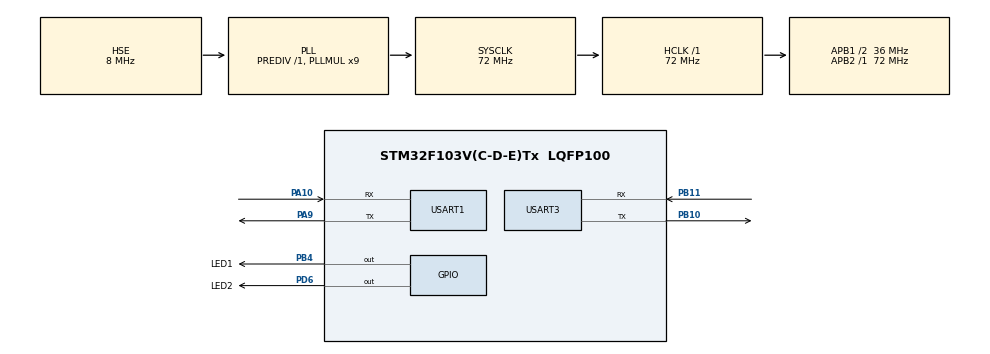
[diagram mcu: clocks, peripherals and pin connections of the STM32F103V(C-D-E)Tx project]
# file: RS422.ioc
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Mcu.Family=STM32F1
Mcu.Name=STM32F103V(C-D-E)Tx
Mcu.Package=LQFP100
NVIC.PriorityGroup=NVIC_PRIORITYGROUP_4
NVIC.USART1_IRQn=true\:0\:0\:false\:false\:true\:true\:true\:true
NVIC.USART3_IRQn=true\:0\:0\:false\:false\:true\:true\:true\:true
OSC_IN.Mode=HSE-External-Oscillator
OSC_IN.Signal=RCC_OSC_IN
OSC_OUT.Mode=HSE-External-Oscillator
OSC_OUT.Signal=RCC_OSC_OUT
PA10.Mode=Asynchronous
PA10.Signal=USART1_RX
PA13.Mode=Serial_Wire
PA13.Signal=SYS_JTMS-SWDIO
PA14.Mode=Serial_Wire
PA14.Signal=SYS_JTCK-SWCLK
PA9.Mode=Asynchronous
PA9.Signal=USART1_TX
PB10.Mode=Asynchronous
PB10.Signal=USART3_TX
PB11.Mode=Asynchronous
PB11.Signal=USART3_RX
PB4.GPIO_Label=LED1
PB4.GPIO_Speed=GPIO_SPEED_FREQ_HIGH
PB4.PinState=GPIO_PIN_SET
PB4.Signal=GPIO_Output
PC14-OSC32_IN.Mode=LSE-External-Oscillator
PC14-OSC32_IN.Signal=RCC_OSC32_IN
PC15-OSC32_OUT.Mode=LSE-External-Oscillator
PC15-OSC32_OUT.Signal=RCC_OSC32_OUT
PD6.GPIO_Label=LED2
PD6.GPIO_Speed=GPIO_SPEED_FREQ_HIGH
PD6.PinState=GPIO_PIN_SET
PD6.Signal=GPIO_Output
ProjectManager.HeapSize=0x1000
ProjectManager.StackSize=0x1000
ProjectManager.TargetToolchain=Makefile
RCC.AHBFreq_Value=72000000
RCC.APB1CLKDivider=RCC_HCLK_DIV2
RCC.APB1Freq_Value=36000000
RCC.APB1TimFreq_Value=72000000
RCC.APB2Freq_Value=72000000
RCC.APB2TimFreq_Value=72000000
RCC.HCLKFreq_Value=72000000
RCC.PLLMUL=RCC_PLL_MUL9
RCC.PLLSourceVirtual=RCC_PLLSOURCE_HSE
RCC.SYSCLKFreq_VALUE=72000000
RCC.SYSCLKSource=RCC_SYSCLKSOURCE_PLLCLK
RCC.USBFreq_Value=48000000
RCC.USBPrescaler=RCC_USBCLKSOURCE_PLL_DIV1_5
USART1.VirtualMode=VM_ASYNC
USART3.VirtualMode=VM_ASYNC
board=custom

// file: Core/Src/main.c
/* USER CODE BEGIN Header */
/**
 ******************************************************************************
 * @file           : main.c
 * @brief          : Main program body
 ******************************************************************************
 * @attention
 *
 * Copyright (c) 2024 STMicroelectronics.
 * All rights reserved.
 *
 * This software is licensed under terms that can be found in the LICENSE file
 * in the root directory of this software component.
 * If no LICENSE file comes with this software, it is provided AS-IS.
 *
 ******************************************************************************
 */
/* USER CODE END Header */
#include "main.h"
#include "usart.h"
#include "gpio.h"

/* USER CODE BEGIN Includes */
#include "stdio.h"
/* USER CODE END Includes */

/* USER CODE BEGIN PD */
uint8_t rx_buff[100]; // 接收缓存
uint8_t rx_done = 0;  // 接收完成标志
uint8_t rx_cnt = 0;   // 接收数据长度
/* USER CODE END PD */

void SystemClock_Config(void);

int main(void)
{

  /* MCU Configuration--------------------------------------------------------*/

  /* Reset of all peripherals, Initializes the Flash interface and the Systick. */
  HAL_Init();

  /* Configure the system clock */
  SystemClock_Config();

  /* Initialize all configured peripherals */
  MX_GPIO_Init();
  MX_USART1_UART_Init();
  MX_USART3_UART_Init();
  /* USER CODE BEGIN 2 */
  printf("hello RS422!\r\n");
  /* USER CODE END 2 */

  /* Infinite loop */
  /* USER CODE BEGIN WHILE */
  while (1)
  {
    // printf("rymcu.com!\r\n");
    // HAL_Delay(1);
    if (rx_done == 1) // 判读是否接收完成
    {
      rx_done = 0; // 清除接收标志
      // 数据处理，打印接收长度以及接收的数据
      printf("length of rx data: %d!\r\n", rx_cnt);
      for (int i = 0; i < rx_cnt; i++)
        printf("%c", rx_buff[i]);
      printf("\r\n");

      rx_cnt = 0; // 清除接收长度
    }
    /* USER CODE END WHILE */

    /* USER CODE BEGIN 3 */
    //HAL_GPIO_TogglePin(LED2_GPIO_Port, LED2_Pin); // 切换亮�?�灭状�?�，添加此语句防止优�??
    HAL_Delay(1);
    /* USER CODE END WHILE */

    /* USER CODE BEGIN 3 */
  }
  /* USER CODE END 3 */
}

void SystemClock_Config(void)
{
  RCC_OscInitTypeDef RCC_OscInitStruct = {0};
  RCC_ClkInitTypeDef RCC_ClkInitStruct = {0};

  /** Initializes the RCC Oscillators according to the specified parameters
  * in the RCC_OscInitTypeDef structure.
  */
  RCC_OscInitStruct.OscillatorType = RCC_OSCILLATORTYPE_HSE;
  RCC_OscInitStruct.HSEState = RCC_HSE_ON;
  RCC_OscInitStruct.HSEPredivValue = RCC_HSE_PREDIV_DIV1;
  RCC_OscInitStruct.HSIState = RCC_HSI_ON;
  RCC_OscInitStruct.PLL.PLLState = RCC_PLL_ON;
  RCC_OscInitStruct.PLL.PLLSource = RCC_PLLSOURCE_HSE;
  RCC_OscInitStruct.PLL.PLLMUL = RCC_PLL_MUL9;
  if (HAL_RCC_OscConfig(&RCC_OscInitStruct) != HAL_OK)
  {
    Error_Handler();
  }

  /** Initializes the CPU, AHB and APB buses clocks
  */
  RCC_ClkInitStruct.ClockType = RCC_CLOCKTYPE_HCLK|RCC_CLOCKTYPE_SYSCLK
                              |RCC_CLOCKTYPE_PCLK1|RCC_CLOCKTYPE_PCLK2;
  RCC_ClkInitStruct.SYSCLKSource = RCC_SYSCLKSOURCE_PLLCLK;
  RCC_ClkInitStruct.AHBCLKDivider = RCC_SYSCLK_DIV1;
  RCC_ClkInitStruct.APB1CLKDivider = RCC_HCLK_DIV2;
  RCC_ClkInitStruct.APB2CLKDivider = RCC_HCLK_DIV1;

  if (HAL_RCC_ClockConfig(&RCC_ClkInitStruct, FLASH_LATENCY_2) != HAL_OK)
  {
    Error_Handler();
  }
}

/* USER CODE BEGIN 4 */
#ifdef __GNUC__
#define PUTCHAR_PROTOTYPE int __io_putchar(int ch)
#else
#define PUTCHAR_PROTOTYPE int fputc(int ch.FILE *f)
#endif /* __GNUC__ */

// 重定向printf函数
PUTCHAR_PROTOTYPE
{
  HAL_UART_Transmit(&huart3, (uint8_t *)&ch, 1, 0xFFFF); // 输出指向串口USART1
  return ch;
}
/* USER CODE END 4 */

void Error_Handler(void)
{
  __disable_irq();
  while (1)
  {
  }
}
